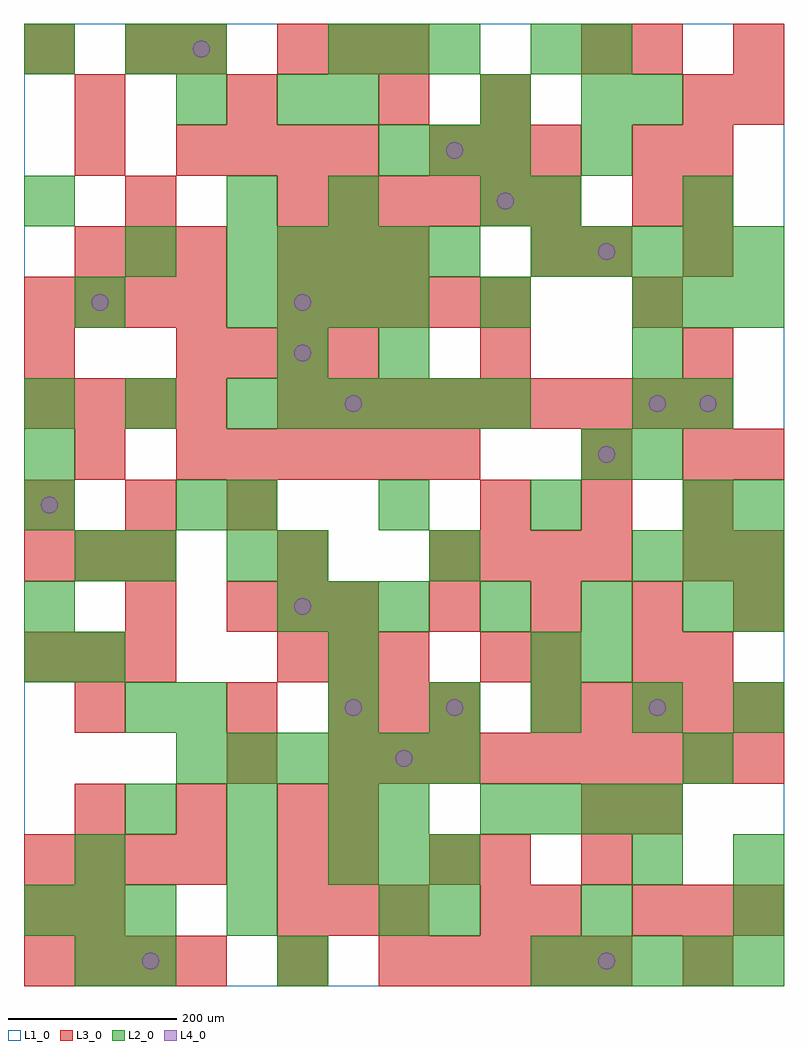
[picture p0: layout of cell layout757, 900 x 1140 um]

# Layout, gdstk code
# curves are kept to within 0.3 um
import gdstk
lib = gdstk.Library(unit=1e-6, precision=1e-09)
def R(c, l, rs):  # rectangles x0, y0, x1, y1
    for r in rs: c.add(gdstk.rectangle(r[:2], r[2:], *l))
def A(c, l, x, y, w, h, nx, ny, dx, dy):  # array of equal rectangles
    R(c, l, [(x+i*dx, y+j*dy, x+i*dx+w, y+j*dy+h) for i in range(nx) for j in range(ny)])
def P(c, l, *ps):  # polygons
    for p in ps: c.add(gdstk.Polygon(p, *l))
L1_0 = (1, 0)
L2_0 = (2, 0)
L3_0 = (3, 0)
L4_0 = (4, 0)

layout757 = lib.new_cell('layout757')
R(layout757, L1_0, [(0,0,900,1140)])
A(layout757, L2_0, 600, 0, 60, 60, 5, 2, 60, 840)
A(layout757, L2_0, 0, 60, 60, 60, 3, 1, 60, 0)
A(layout757, L2_0, 480, 60, 60, 60, 3, 1, 180, 0)
A(layout757, L2_0, 360, 120, 60, 60, 3, 2, 60, 960)
A(layout757, L2_0, 120, 180, 60, 60, 3, 1, 120, 0)
A(layout757, L2_0, 540, 180, 60, 60, 4, 1, 60, 0)
A(layout757, L2_0, 180, 240, 60, 60, 6, 1, 60, 0)
A(layout757, L2_0, 360, 300, 60, 60, 5, 1, 120, 0)
A(layout757, L2_0, 300, 420, 60, 60, 3, 1, 60, 0)
A(layout757, L2_0, 540, 420, 60, 60, 3, 1, 120, 0)
A(layout757, L2_0, 720, 480, 60, 60, 3, 2, 60, 300)
A(layout757, L2_0, 240, 540, 60, 60, 4, 1, 180, 0)
A(layout757, L2_0, 720, 600, 60, 60, 1, 3, 0, 60)
A(layout757, L2_0, 0, 660, 60, 60, 3, 1, 120, 0)
A(layout757, L2_0, 300, 660, 60, 60, 5, 1, 60, 0)
A(layout757, L2_0, 240, 780, 60, 60, 4, 1, 60, 0)
A(layout757, L2_0, 540, 780, 60, 60, 1, 3, 0, 120)
A(layout757, L2_0, 240, 840, 60, 60, 5, 1, 60, 0)
A(layout757, L2_0, 420, 960, 60, 60, 3, 1, 60, 0)
A(layout757, L2_0, 660, 960, 60, 60, 1, 3, 0, 60)
R(layout757, L2_0, [(60,0,120,60), (120,0,180,60), (300,0,360,60), (240,60,300,120), (420,60,480,120), (60,120,120,180), (240,120,300,180), (720,120,780,180), (840,120,900,180), (420,180,480,240), (780,240,840,300), (120,300,180,360), (180,300,240,360), (0,360,60,420), (60,360,120,420), (360,360,420,420), (600,360,660,420), (660,360,720,420), (0,420,60,480), (840,420,900,480), (60,480,120,540), (120,480,180,540), (240,480,300,540), (300,480,360,540), (480,480,540,540), (0,540,60,600), (180,540,240,600), (840,540,900,600), (0,600,60,660), (660,600,720,660), (780,660,840,720), (300,720,360,780), (420,720,480,780), (60,780,120,840), (120,840,180,900), (0,900,60,960), (240,900,300,960), (360,900,420,960), (600,900,660,960), (780,900,840,960), (180,1020,240,1080), (300,1020,360,1080), (360,1020,420,1080), (720,1020,780,1080), (0,1080,60,1140), (120,1080,180,1140), (180,1080,240,1140), (600,1080,660,1140)])
A(layout757, L3_0, 0, 0, 60, 60, 4, 2, 60, 120)
A(layout757, L3_0, 420, 0, 60, 60, 5, 1, 60, 0)
A(layout757, L3_0, 300, 60, 60, 60, 3, 2, 60, 300)
A(layout757, L3_0, 720, 60, 60, 60, 3, 1, 60, 0)
A(layout757, L3_0, 60, 180, 60, 60, 3, 1, 120, 0)
A(layout757, L3_0, 360, 240, 60, 60, 9, 1, 60, 0)
A(layout757, L3_0, 360, 300, 60, 60, 3, 1, 60, 0)
A(layout757, L3_0, 600, 300, 60, 60, 5, 1, 60, 0)
A(layout757, L3_0, 0, 360, 60, 60, 3, 2, 60, 120)
A(layout757, L3_0, 780, 360, 60, 60, 1, 5, 0, 120)
A(layout757, L3_0, 240, 420, 60, 60, 3, 1, 60, 0)
A(layout757, L3_0, 480, 420, 60, 60, 4, 1, 120, 0)
A(layout757, L3_0, 480, 480, 60, 60, 4, 1, 60, 0)
A(layout757, L3_0, 0, 540, 60, 60, 3, 1, 120, 0)
A(layout757, L3_0, 540, 540, 60, 60, 3, 1, 120, 0)
A(layout757, L3_0, 180, 600, 60, 60, 6, 1, 60, 0)
A(layout757, L3_0, 660, 600, 60, 60, 1, 3, 0, 240)
A(layout757, L3_0, 0, 660, 60, 60, 4, 2, 60, 120)
A(layout757, L3_0, 300, 660, 60, 60, 9, 1, 60, 0)
A(layout757, L3_0, 180, 720, 60, 60, 4, 2, 60, 240)
A(layout757, L3_0, 300, 780, 60, 60, 5, 1, 60, 0)
A(layout757, L3_0, 60, 840, 60, 60, 3, 1, 60, 0)
A(layout757, L3_0, 300, 840, 60, 60, 3, 2, 60, 240)
A(layout757, L3_0, 300, 900, 60, 60, 6, 1, 60, 0)
A(layout757, L3_0, 780, 900, 60, 60, 1, 3, 0, 60)
A(layout757, L3_0, 480, 960, 60, 60, 3, 1, 60, 0)
A(layout757, L3_0, 60, 1020, 60, 60, 3, 1, 180, 0)
R(layout757, L3_0, [(300,0,360,60), (780,0,840,60), (0,60,60,120), (60,60,120,120), (540,60,600,120), (600,60,660,120), (300,120,360,180), (360,120,420,180), (480,120,540,180), (540,120,600,180), (660,120,720,180), (360,180,420,240), (660,180,720,240), (720,180,780,240), (240,240,300,300), (60,300,120,360), (240,300,300,360), (540,360,600,420), (600,360,660,420), (720,360,780,420), (120,420,180,480), (300,480,360,540), (840,480,900,540), (60,600,120,660), (840,600,900,660), (0,720,60,780), (540,720,600,780), (720,780,780,840), (600,840,660,900), (120,900,180,960), (720,900,780,960), (60,960,120,1020), (720,960,780,1020), (540,1020,600,1080), (840,1020,900,1080), (0,1080,60,1140), (120,1080,180,1140), (180,1080,240,1140), (720,1080,780,1140), (840,1080,900,1140)])
P(layout757, L4_0, [(40,570),(39.239,573.827),(37.071,577.071),(33.827,579.239),(30,580),(26.173,579.239),(22.929,577.071),(20.761,573.827),(20,570),(20.761,566.173),(22.929,562.929),(26.173,560.761),(30,560),(33.827,560.761),(37.071,562.929),(39.239,566.173)],
  [(100,810),(99.239,813.827),(97.071,817.071),(93.827,819.239),(90,820),(86.173,819.239),(82.929,817.071),(80.761,813.827),(80,810),(80.761,806.173),(82.929,802.929),(86.173,800.761),(90,800),(93.827,800.761),(97.071,802.929),(99.239,806.173)],
  [(160,30),(159.239,33.827),(157.071,37.071),(153.827,39.239),(150,40),(146.173,39.239),(142.929,37.071),(140.761,33.827),(140,30),(140.761,26.173),(142.929,22.929),(146.173,20.761),(150,20),(153.827,20.761),(157.071,22.929),(159.239,26.173)],
  [(220,1110),(219.239,1113.827),(217.071,1117.071),(213.827,1119.239),(210,1120),(206.173,1119.239),(202.929,1117.071),(200.761,1113.827),(200,1110),(200.761,1106.173),(202.929,1102.929),(206.173,1100.761),(210,1100),(213.827,1100.761),(217.071,1102.929),(219.239,1106.173)],
  [(340,450),(339.239,453.827),(337.071,457.071),(333.827,459.239),(330,460),(326.173,459.239),(322.929,457.071),(320.761,453.827),(320,450),(320.761,446.173),(322.929,442.929),(326.173,440.761),(330,440),(333.827,440.761),(337.071,442.929),(339.239,446.173)],
  [(340,750),(339.239,753.827),(337.071,757.071),(333.827,759.239),(330,760),(326.173,759.239),(322.929,757.071),(320.761,753.827),(320,750),(320.761,746.173),(322.929,742.929),(326.173,740.761),(330,740),(333.827,740.761),(337.071,742.929),(339.239,746.173)],
  [(340,810),(339.239,813.827),(337.071,817.071),(333.827,819.239),(330,820),(326.173,819.239),(322.929,817.071),(320.761,813.827),(320,810),(320.761,806.173),(322.929,802.929),(326.173,800.761),(330,800),(333.827,800.761),(337.071,802.929),(339.239,806.173)],
  [(400,330),(399.239,333.827),(397.071,337.071),(393.827,339.239),(390,340),(386.173,339.239),(382.929,337.071),(380.761,333.827),(380,330),(380.761,326.173),(382.929,322.929),(386.173,320.761),(390,320),(393.827,320.761),(397.071,322.929),(399.239,326.173)],
  [(400,690),(399.239,693.827),(397.071,697.071),(393.827,699.239),(390,700),(386.173,699.239),(382.929,697.071),(380.761,693.827),(380,690),(380.761,686.173),(382.929,682.929),(386.173,680.761),(390,680),(393.827,680.761),(397.071,682.929),(399.239,686.173)],
  [(460,270),(459.239,273.827),(457.071,277.071),(453.827,279.239),(450,280),(446.173,279.239),(442.929,277.071),(440.761,273.827),(440,270),(440.761,266.173),(442.929,262.929),(446.173,260.761),(450,260),(453.827,260.761),(457.071,262.929),(459.239,266.173)],
  [(520,330),(519.239,333.827),(517.071,337.071),(513.827,339.239),(510,340),(506.173,339.239),(502.929,337.071),(500.761,333.827),(500,330),(500.761,326.173),(502.929,322.929),(506.173,320.761),(510,320),(513.827,320.761),(517.071,322.929),(519.239,326.173)],
  [(520,990),(519.239,993.827),(517.071,997.071),(513.827,999.239),(510,1000),(506.173,999.239),(502.929,997.071),(500.761,993.827),(500,990),(500.761,986.173),(502.929,982.929),(506.173,980.761),(510,980),(513.827,980.761),(517.071,982.929),(519.239,986.173)],
  [(580,930),(579.239,933.827),(577.071,937.071),(573.827,939.239),(570,940),(566.173,939.239),(562.929,937.071),(560.761,933.827),(560,930),(560.761,926.173),(562.929,922.929),(566.173,920.761),(570,920),(573.827,920.761),(577.071,922.929),(579.239,926.173)],
  [(700,30),(699.239,33.827),(697.071,37.071),(693.827,39.239),(690,40),(686.173,39.239),(682.929,37.071),(680.761,33.827),(680,30),(680.761,26.173),(682.929,22.929),(686.173,20.761),(690,20),(693.827,20.761),(697.071,22.929),(699.239,26.173)],
  [(700,630),(699.239,633.827),(697.071,637.071),(693.827,639.239),(690,640),(686.173,639.239),(682.929,637.071),(680.761,633.827),(680,630),(680.761,626.173),(682.929,622.929),(686.173,620.761),(690,620),(693.827,620.761),(697.071,622.929),(699.239,626.173)],
  [(700,870),(699.239,873.827),(697.071,877.071),(693.827,879.239),(690,880),(686.173,879.239),(682.929,877.071),(680.761,873.827),(680,870),(680.761,866.173),(682.929,862.929),(686.173,860.761),(690,860),(693.827,860.761),(697.071,862.929),(699.239,866.173)],
  [(760,330),(759.239,333.827),(757.071,337.071),(753.827,339.239),(750,340),(746.173,339.239),(742.929,337.071),(740.761,333.827),(740,330),(740.761,326.173),(742.929,322.929),(746.173,320.761),(750,320),(753.827,320.761),(757.071,322.929),(759.239,326.173)],
  [(760,690),(759.239,693.827),(757.071,697.071),(753.827,699.239),(750,700),(746.173,699.239),(742.929,697.071),(740.761,693.827),(740,690),(740.761,686.173),(742.929,682.929),(746.173,680.761),(750,680),(753.827,680.761),(757.071,682.929),(759.239,686.173)],
  [(820,690),(819.239,693.827),(817.071,697.071),(813.827,699.239),(810,700),(806.173,699.239),(802.929,697.071),(800.761,693.827),(800,690),(800.761,686.173),(802.929,682.929),(806.173,680.761),(810,680),(813.827,680.761),(817.071,682.929),(819.239,686.173)])

lib.write_gds('layout757.gds')
